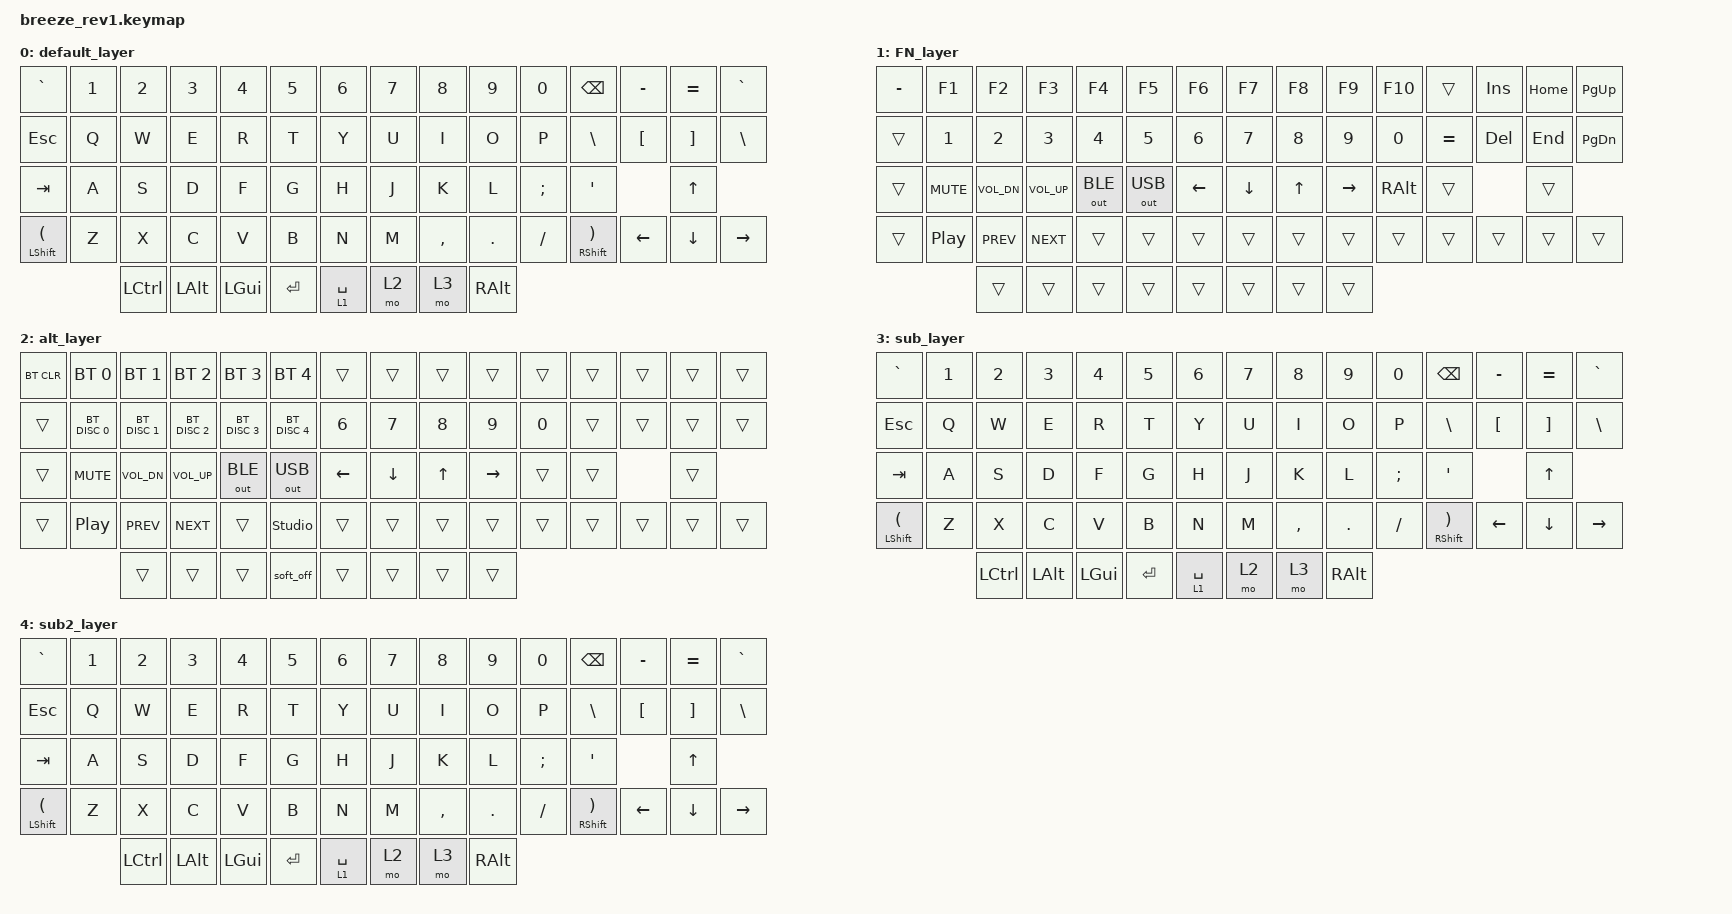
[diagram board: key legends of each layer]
/*
 * Copyright (c) 2022 The ZMK Contributors
 *
 * SPDX-License-Identifier: MIT
 */

#include <behaviors.dtsi>
#include <dt-bindings/zmk/bt.h>
#include <dt-bindings/zmk/keys.h>
#include <dt-bindings/zmk/outputs.h>

&soft_off {
	hold-time-ms=<5000>; // Only turn off if the key is held for more than 5 seconds;
	split-peripheral-off-on-press;
};

/ {
    keymap {
        compatible = "zmk,keymap";

        default_layer {
            // Ref: https://zmkfirmware.dev/docs/codes/
            // ---  MAIN  -----------------------------------------------------------------------------------------------------------------------
            // |    ESC    |     1     |     2     |     3      |      4      |      5     |                           |      6      |      7     |      8      |      9     |     0    |    BSPC    | |    -/_    |     =/+     |    GRAVE    |
            // |    TAB    |     Q     |     W     |     E      |      R      |      T     |                           |      Y      |      U     |      I      |      O     |     P    |    BSLH    | |     \     |      [      |      ]      |
            // |   LCTRL   |     A     |     S     |     D      |      F      |      G     |                           |      H      |      J     |      K      |      L     |     ;    |     '      | |           |      UP     |             |
            // |    LS(    |     Z     |     X     |     C      |      V      |      B     |                           |      N      |      M     |      ,      |      .     |     /    |     RS)    | |     L     |      DN     |      R      |
            //                                     |    LCTL    |     LALT    |    LGUI    |   ENTER    |  |   SPACE   |     mo1     |     mo2    |     LANG    |

            bindings = <
        &kp GRAVE		&kp N1		&kp N2   	&kp N3		&kp N4    	&kp N5				&kp N6		&kp N7		&kp N8      &kp N9   	&kp N0    	&kp BSPC		&kp MINUS			&kp EQUAL			&kp GRAVE
        &kp ESC			&kp Q		&kp W    	&kp E    	&kp R		&kp T				&kp Y		&kp U		&kp I		&kp O		&kp P		&kp BSLH		&kp LEFT_BRACKET	&kp RIGHT_BRACKET	&kp BACKSLASH
        &kp TAB			&kp A		&kp S    	&kp D    	&kp F     	&kp G				&kp H		&kp J		&kp K		&kp L		&kp SEMI  	&kp APOS							&kp UP
        &mt LSHIFT LPAR	&kp Z		&kp X		&kp C    	&kp V		&kp B               &kp N		&kp M		&kp COMMA	&kp DOT  	&kp FSLH  	&mt RSHIFT RPAR	&kp LEFT	&kp DOWN			&kp RIGHT
                                	&kp LCTL 	&kp LALT 	&kp LGUI  	&kp RET				&lt 1 SPC	&mo 2		&mo 3		&kp RALT
            >;
        };

            // ---  MAIN  -----------------------------------------------------------------------------------------------------------------------
            // |     -     |     F1    |     F2    |     F3     |      F4     |      F5    |                           |      F6     |      F7    |      F8     |      F9    |    F10   |    BSPC    | |    INS    |     HOME    |    PGUP     |
            // |    ESC    |     1     |     2     |     3      |      4      |      5     |                           |      6      |      7     |      8      |      9     |     0    |     =+     | |    DEL    |      END    |    PGDN     |
            // |    TAB    |    MUTE   |   VOLDN   |   VOLUP    |   OUT_BLE   |   OUT_USB  |                           |     LEFT    |    DOWN    |      UP     |    RIGHT   |          |            | |           |             |             |
            // |   LS(     | play/pause|   PREV    |    NEXT    |             |            |                           |             |            |             |            |          |     RS)    | |           |             |             |
            //                                     |            |             |            |            |  |           |             |            |             |
        FN_layer {
            bindings = <
        &kp MINUS		&kp F1			&kp F2			&kp F3			&kp F4       &kp F5                    &kp F6      &kp F7    &kp F8          &kp F9     &kp F10   &trans         &kp INS     &kp HOME  &kp PAGE_UP
        &trans			&kp N1			&kp N2			&kp N3			&kp N4       &kp N5                    &kp N6      &kp N7    &kp N8          &kp N9     &kp N0    &kp EQUAL      &kp DELETE  &kp END   &kp PAGE_DOWN
        &trans			&kp C_MUTE		&kp C_VOL_DN	&kp C_VOL_UP	&out OUT_BLE &out OUT_USB              &kp LEFT    &kp DOWN  &kp UP          &kp RIGHT  &kp RALT  &trans                     &trans
        &trans			&kp C_PP		&kp C_PREV		&kp C_NEXT		&trans       &trans                    &trans      &trans    &trans          &trans     &trans    &trans         &trans      &trans    &trans
                                		&trans			&trans			&trans       &trans                    &trans      &trans    &trans          &trans
            >;
        };
            
		// ---  MAIN  -----------------------------------------------------------------------------------------------------------------------
            // |   BT_CLR  |    BT1    |    BT2    |    BT3     |     BT4     |     BT5    |                           |   soft_off  |            |             |            |          |            | |           |             |             |
            // |           |           |           |            |             |            |                           |             |            |             |            |          |            | |           |             |             |
            // |           |           |           |            |             |            |                           |             |            |             |            |          |            | |     x     |             |      x      |
            // |           |           |           |            |             |            |                           |             |            |             |            |          |            | |           |             |             |
            //                                     |            |             |            |            |  |           |             |            |             |
        alt_layer {
            bindings = <
                &bt BT_CLR		&bt BT_SEL 0	&bt BT_SEL 1	&bt BT_SEL 2  &bt BT_SEL 3  &bt BT_SEL 4			&trans	  	&trans    &trans          &trans     &trans    &trans         &trans      &trans    &trans
                &trans			&bt BT_DISC 0	&bt BT_DISC 1	&bt BT_DISC 2 &bt BT_DISC 3 &bt BT_DISC 4			&kp N6      &kp N7    &kp N8          &kp N9     &kp N0    &trans         &trans      &trans    &trans
                &trans			&kp C_MUTE		&kp C_VOL_DN	&kp C_VOL_UP	&out OUT_BLE  &out OUT_USB			&kp LEFT    &kp DOWN  &kp UP          &kp RIGHT  &trans    &trans                     &trans
                &trans			&kp C_PP		&kp C_PREV		&kp C_NEXT    &trans        &studio_unlock		&trans      &trans    &trans          &trans     &trans    &trans         &trans      &trans    &trans
                            					&trans			&trans        &trans        &soft_off             &trans      &trans    &trans          &trans
            >;
        };

        sub_layer {
            // ---  MAIN  -----------------------------------------------------------------------------------------------------------------------
            // |    ESC    |     1     |     2     |     3      |      4      |      5     |                           |      6      |      7     |      8      |      9     |     0    |    BSPC    | |    -/_    |     =/+     |    GRAVE    |
            // |    TAB    |     Q     |     W     |     E      |      R      |      T     |                           |      Y      |      U     |      I      |      O     |     P    |    BSLH    | |     \     |      [      |      ]      |
            // |   LCTRL   |     A     |     S     |     D      |      F      |      G     |                           |      H      |      J     |      K      |      L     |     ;    |     '      | |           |      UP     |             |
            // |    LS(    |     Z     |     X     |     C      |      V      |      B     |                           |      N      |      M     |      ,      |      .     |     /    |     RS)    | |     L     |      DN     |      R      |
            //                                     |    LCTL    |     LALT    |    LGUI    |   ENTER    |  |   SPACE   |     mo1     |     mo2    |     LANG    |

            bindings = <
        &kp GRAVE		&kp N1		&kp N2   	&kp N3		&kp N4    	&kp N5				&kp N6		&kp N7		&kp N8      &kp N9   	&kp N0    	&kp BSPC		&kp MINUS			&kp EQUAL			&kp GRAVE
        &kp ESC			&kp Q		&kp W    	&kp E    	&kp R		&kp T				&kp Y		&kp U		&kp I		&kp O		&kp P		&kp BSLH		&kp LEFT_BRACKET	&kp RIGHT_BRACKET	&kp BACKSLASH
        &kp TAB			&kp A		&kp S    	&kp D    	&kp F     	&kp G				&kp H		&kp J		&kp K		&kp L		&kp SEMI  	&kp APOS							&kp UP
        &mt LSHIFT LPAR	&kp Z		&kp X		&kp C    	&kp V		&kp B               &kp N		&kp M		&kp COMMA	&kp DOT  	&kp FSLH  	&mt RSHIFT RPAR	&kp LEFT			&kp DOWN			&kp RIGHT
                                	&kp LCTL 	&kp LALT 	&kp LGUI  	&kp RET				&lt 1 SPC	&mo 2		&mo 3		&kp RALT
            >;
        };
        
		sub2_layer {
            // ---  MAIN  -----------------------------------------------------------------------------------------------------------------------
            // |    ESC    |     1     |     2     |     3      |      4      |      5     |                           |      6      |      7     |      8      |      9     |     0    |    BSPC    | |    -/_    |     =/+     |    GRAVE    |
            // |    TAB    |     Q     |     W     |     E      |      R      |      T     |                           |      Y      |      U     |      I      |      O     |     P    |    BSLH    | |     \     |      [      |      ]      |
            // |   LCTRL   |     A     |     S     |     D      |      F      |      G     |                           |      H      |      J     |      K      |      L     |     ;    |     '      | |           |      UP     |             |
            // |    LS(    |     Z     |     X     |     C      |      V      |      B     |                           |      N      |      M     |      ,      |      .     |     /    |     RS)    | |     L     |      DN     |      R      |
            //                                     |    LCTL    |     LALT    |    LGUI    |   ENTER    |  |   SPACE   |     mo1     |     mo2    |     LANG    |

            bindings = <
        &kp GRAVE		&kp N1		&kp N2   	&kp N3		&kp N4    	&kp N5				&kp N6		&kp N7		&kp N8      &kp N9   	&kp N0    	&kp BSPC		&kp MINUS			&kp EQUAL			&kp GRAVE
        &kp ESC			&kp Q		&kp W    	&kp E    	&kp R		&kp T				&kp Y		&kp U		&kp I		&kp O		&kp P		&kp BSLH		&kp LEFT_BRACKET	&kp RIGHT_BRACKET	&kp BACKSLASH
        &kp TAB			&kp A		&kp S    	&kp D    	&kp F     	&kp G				&kp H		&kp J		&kp K		&kp L		&kp SEMI  	&kp APOS							&kp UP
        &mt LSHIFT LPAR	&kp Z		&kp X		&kp C    	&kp V		&kp B               &kp N		&kp M		&kp COMMA	&kp DOT  	&kp FSLH  	&mt RSHIFT RPAR	&kp LEFT			&kp DOWN			&kp RIGHT
                                	&kp LCTL 	&kp LALT 	&kp LGUI  	&kp RET				&lt 1 SPC	&mo 2		&mo 3		&kp RALT
            >;
        };
    };
};
